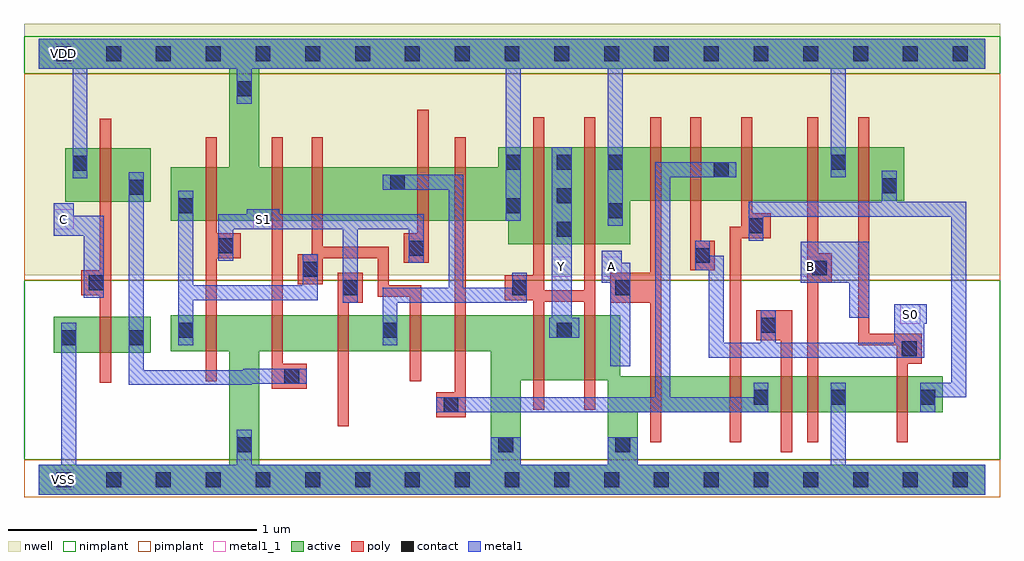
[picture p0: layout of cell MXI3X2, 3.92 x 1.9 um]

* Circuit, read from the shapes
.subckt MXI3X2 A B C S0 S1 VDD VSS Y
M1 n1 C VSS VSS nfet w=0.145u l=0.045u
M2 VSS S1 n2 VSS nfet w=0.145u l=0.045u
M3 n3 n1 VSS VSS nfet w=0.145u l=0.045u
M4 n4 S1 n3 VSS nfet w=0.145u l=0.045u
M5 n5 n2 n4 VSS nfet w=0.145u l=0.045u
M6 VSS n6 n5 VSS nfet w=0.145u l=0.045u
M7 Y n4 VSS VSS nfet w=0.26u l=0.045u m=2
M8 n7 A VSS VSS nfet w=0.145u l=0.045u
M9 n6 n8 n7 VSS nfet w=0.145u l=0.045u
M10 n9 S0 n6 VSS nfet w=0.145u l=0.045u
M11 VSS B n9 VSS nfet w=0.145u l=0.045u
M12 n8 S0 VSS VSS nfet w=0.145u l=0.045u
M13 n1 C VDD VDD pfet w=0.215u l=0.045u
M14 VDD S1 n2 VDD pfet w=0.215u l=0.045u
M15 n10 n1 VDD VDD pfet w=0.215u l=0.045u
M16 n4 n2 n10 VDD pfet w=0.215u l=0.045u
M17 n11 S1 n4 VDD pfet w=0.215u l=0.045u
M18 VDD n6 n11 VDD pfet w=0.215u l=0.045u
M19 Y n4 VDD VDD pfet w=0.39u l=0.045u m=2
M20 n12 A VDD VDD pfet w=0.215u l=0.045u
M21 n6 S0 n12 VDD pfet w=0.215u l=0.045u
M22 n13 n8 n6 VDD pfet w=0.215u l=0.045u
M23 VDD B n13 VDD pfet w=0.215u l=0.045u
M24 n8 S0 VDD VDD pfet w=0.215u l=0.045u
.ends

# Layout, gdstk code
import gdstk
lib = gdstk.Library(unit=1e-6, precision=5e-10)
def R(c, l, rs):  # rectangles x0, y0, x1, y1
    for r in rs: c.add(gdstk.rectangle(r[:2], r[2:], *l))
def A(c, l, x, y, w, h, nx, ny, dx, dy):  # array of equal rectangles
    R(c, l, [(x+i*dx, y+j*dy, x+i*dx+w, y+j*dy+h) for i in range(nx) for j in range(ny)])
def P(c, l, *ps):  # polygons
    for p in ps: c.add(gdstk.Polygon(p, *l))
active = (1, 0)
nwell = (2, 0)
poly = (3, 0)
nimplant = (4, 0)
pimplant = (5, 0)
contact = (6, 0)
metal1 = (7, 0)
metal1_1 = (7, 1)

mxi3x2 = lib.new_cell('MXI3X2')
R(mxi3x2, active, [(0.06,0.51,0.45,0.655), (0.105,1.115,0.45,1.33)])
P(mxi3x2, active, [(0,1.77),(3.8,1.77),(3.8,1.65),(0.885,1.65),(0.885,1.255),(1.845,1.255),(1.845,1.335),(3.475,1.335),(3.475,1.12),(2.375,1.12),(2.375,0.945),(1.885,0.945),(1.885,1.04),(0.53,1.04),(0.53,1.255),(0.765,1.255),(0.765,1.65),(0,1.65)],
  [(0.53,0.66),(2.335,0.66),(2.335,0.415),(3.63,0.415),(3.63,0.27),(2.405,0.27),(2.405,0.06),(3.8,0.06),(3.8,-0.06),(0,-0.06),(0,0.06),(0.765,0.06),(0.765,0.515),(0.885,0.515),(0.885,0.06),(1.815,0.06),(1.815,0.4),(1.935,0.4),(1.935,0.06),(2.285,0.06),(2.285,0.4),(1.815,0.4),(1.815,0.515),(0.53,0.515)])
R(mxi3x2, nwell, [(-0.06,0.82,3.86,1.83)])
P(mxi3x2, poly, [(0.245,1.45),(0.29,1.45),(0.29,0.39),(0.245,0.39),(0.245,0.74),(0.17,0.74),(0.17,0.84),(0.245,0.84)],
  [(0.67,1.375),(0.715,1.375),(0.715,0.99),(0.81,0.99),(0.81,0.89),(0.715,0.89),(0.715,0.395),(0.67,0.395)],
  [(1.985,1.455),(2.03,1.455),(2.03,0.76),(2.19,0.76),(2.19,1.455),(2.235,1.455),(2.235,0.28),(2.19,0.28),(2.19,0.715),(2.03,0.715),(2.03,0.28),(1.985,0.28),(1.985,0.72),(1.87,0.72),(1.87,0.82),(1.985,0.82)],
  [(0.935,1.375),(0.98,1.375),(0.98,0.465),(1.075,0.465),(1.075,0.365),(0.935,0.365)],
  [(1.095,1.375),(1.14,1.375),(1.14,0.935),(1.405,0.935),(1.405,0.78),(1.535,0.78),(1.535,0.395),(1.49,0.395),(1.49,0.735),(1.36,0.735),(1.36,0.89),(1.14,0.89),(1.14,0.785),(1.04,0.785),(1.04,0.905),(1.095,0.905)],
  [(1.52,1.485),(1.565,1.485),(1.565,0.87),(1.465,0.87),(1.465,0.99),(1.52,0.99)],
  [(1.67,1.375),(1.715,1.375),(1.715,0.25),(1.595,0.25),(1.595,0.35),(1.67,0.35)],
  [(1.2,0.83),(1.3,0.83),(1.3,0.71),(1.245,0.71),(1.245,0.215),(1.2,0.215)],
  [(2.455,1.455),(2.5,1.455),(2.5,0.15),(2.455,0.15),(2.455,0.71),(2.295,0.71),(2.295,0.83),(2.455,0.83)],
  [(2.615,1.455),(2.66,1.455),(2.66,0.96),(2.715,0.96),(2.715,0.84),(2.615,0.84)],
  [(2.82,1.455),(2.865,1.455),(2.865,1.07),(2.94,1.07),(2.94,0.97),(2.82,0.97),(2.82,0.15),(2.775,0.15),(2.775,1.015),(2.82,1.015)],
  [(3.085,1.455),(3.13,1.455),(3.13,0.91),(3.185,0.91),(3.185,0.79),(3.13,0.79),(3.13,0.15),(3.085,0.15)],
  [(3.29,1.455),(3.335,1.455),(3.335,0.585),(3.545,0.585),(3.545,0.465),(3.49,0.465),(3.49,0.15),(3.445,0.15),(3.445,0.54),(3.29,0.54)],
  [(2.88,0.68),(3.025,0.68),(3.025,0.11),(2.98,0.11),(2.98,0.56),(2.88,0.56)])
R(mxi3x2, nimplant, [(-0.06,0.08,3.86,0.8), (-0.06,1.63,3.86,1.78)])
R(mxi3x2, pimplant, [(-0.06,-0.07,3.86,0.08), (-0.06,0.8,3.86,1.63)])
A(mxi3x2, contact, 0.07, -0.03, 0.06, 0.06, 19, 2, 0.2, 1.71)
A(mxi3x2, contact, 1.875, 1.245, 0.06, 0.06, 3, 1, 0.205, 0)
R(mxi3x2, contact, [(0.795,0.11,0.855,0.17), (1.845,0.11,1.905,0.17), (2.315,0.11,2.375,0.17), (1.625,0.27,1.685,0.33), (2.87,0.3,2.93,0.36), (3.18,0.3,3.24,0.36), (3.54,0.3,3.6,0.36), (0.985,0.385,1.045,0.445), (3.465,0.495,3.525,0.555), (0.09,0.54,0.15,0.6), (0.36,0.54,0.42,0.6), (0.56,0.57,0.62,0.63), (1.38,0.57,1.44,0.63), (2.08,0.57,2.14,0.63), (2.9,0.59,2.96,0.65), (1.22,0.74,1.28,0.8), (1.9,0.74,1.96,0.8), (2.315,0.74,2.375,0.8), (0.2,0.76,0.26,0.82), (1.06,0.815,1.12,0.875), (3.105,0.82,3.165,0.88), (2.635,0.87,2.695,0.93), (1.485,0.9,1.545,0.96), (0.72,0.91,0.78,0.97), (2.08,0.975,2.14,1.035), (2.85,0.99,2.91,1.05), (2.285,1.05,2.345,1.11), (0.56,1.07,0.62,1.13), (1.875,1.07,1.935,1.13), (2.08,1.11,2.14,1.17), (0.36,1.145,0.42,1.205), (3.385,1.15,3.445,1.21), (1.41,1.165,1.47,1.225), (2.71,1.215,2.77,1.275), (0.135,1.24,0.195,1.3), (3.18,1.245,3.24,1.305), (0.795,1.54,0.855,1.6)])
P(mxi3x2, metal1, [(0,1.77),(3.8,1.77),(3.8,1.65),(3.24,1.65),(3.24,1.215),(3.18,1.215),(3.18,1.65),(2.345,1.65),(2.345,1.02),(2.285,1.02),(2.285,1.65),(1.935,1.65),(1.935,1.04),(1.875,1.04),(1.875,1.65),(0.855,1.65),(0.855,1.51),(0.795,1.51),(0.795,1.65),(0.195,1.65),(0.195,1.21),(0.135,1.21),(0.135,1.65),(0,1.65)],
  [(0.56,1.16),(0.62,1.16),(0.62,0.78),(1.06,0.78),(1.06,0.905),(1.12,0.905),(1.12,0.72),(0.62,0.72),(0.62,0.54),(0.56,0.54)],
  [(1.38,1.225),(1.705,1.225),(1.705,0.77),(1.9,0.77),(1.9,0.83),(1.96,0.83),(1.96,0.71),(1.44,0.71),(1.44,0.54),(1.38,0.54),(1.38,0.77),(1.645,0.77),(1.645,1.165),(1.38,1.165)],
  [(0.36,1.235),(0.42,1.235),(0.42,0.44),(0.82,0.44),(0.82,0.445),(1.075,0.445),(1.075,0.385),(0.855,0.385),(0.855,0.38),(0.36,0.38)],
  [(0.06,1.11),(0.14,1.11),(0.14,1.06),(0.26,1.06),(0.26,0.73),(0.18,0.73),(0.18,0.98),(0.06,0.98)],
  [(0.09,0.63),(0.15,0.63),(0.15,0.06),(0.795,0.06),(0.795,0.2),(0.855,0.2),(0.855,0.06),(1.815,0.06),(1.815,0.17),(1.935,0.17),(1.935,0.06),(2.285,0.06),(2.285,0.17),(2.405,0.17),(2.405,0.06),(3.18,0.06),(3.18,0.39),(3.24,0.39),(3.24,0.06),(3.8,0.06),(3.8,-0.06),(0,-0.06),(0,0.06),(0.09,0.06)],
  [(0.835,1.085),(0.965,1.085),(0.965,1.065),(1.545,1.065),(1.545,0.87),(1.485,0.87),(1.485,1.005),(1.28,1.005),(1.28,0.71),(1.22,0.71),(1.22,1.005),(0.78,1.005),(0.78,0.88),(0.72,0.88),(0.72,1.065),(0.835,1.065)],
  [(2.06,1.335),(2.14,1.335),(2.14,0.65),(2.17,0.65),(2.17,0.57),(2.05,0.57),(2.05,0.65),(2.06,0.65)],
  [(2.475,1.275),(2.8,1.275),(2.8,1.215),(2.535,1.215),(2.535,0.33),(2.87,0.33),(2.87,0.39),(2.93,0.39),(2.93,0.27),(1.595,0.27),(1.595,0.33),(2.475,0.33)],
  [(3.385,1.24),(3.445,1.24),(3.445,1.115),(3.725,1.115),(3.725,0.33),(3.6,0.33),(3.6,0.27),(3.54,0.27),(3.54,0.39),(3.665,0.39),(3.665,1.055),(2.91,1.055),(2.91,0.96),(2.85,0.96),(2.85,1.115),(3.385,1.115)],
  [(2.26,0.92),(2.34,0.92),(2.34,0.87),(2.375,0.87),(2.375,0.455),(2.295,0.455),(2.295,0.79),(2.26,0.79)],
  [(2.635,0.96),(2.695,0.96),(2.695,0.9),(2.75,0.9),(2.75,0.55),(2.9,0.55),(2.9,0.68),(2.96,0.68),(2.96,0.55),(3.435,0.55),(3.435,0.705),(3.565,0.705),(3.565,0.625),(3.555,0.625),(3.555,0.49),(2.69,0.49),(2.69,0.84),(2.635,0.84)],
  [(3.06,0.955),(3.335,0.955),(3.335,0.65),(3.255,0.65),(3.255,0.79),(3.06,0.79)])
R(mxi3x2, metal1_1, [(0.06,-0.04,0.14,0.04), (3.46,0.625,3.54,0.705), (2.06,0.815,2.14,0.895), (2.26,0.815,2.34,0.895), (3.06,0.815,3.14,0.895), (0.06,1.005,0.14,1.085), (0.86,1.005,0.94,1.085), (0.06,1.67,0.14,1.75)])
mxi3x2.add(gdstk.Label('Y', (2.1,0.855), layer=7, texttype=1))
mxi3x2.add(gdstk.Label('S0', (3.5,0.665), layer=7, texttype=1))
mxi3x2.add(gdstk.Label('B', (3.1,0.855), layer=7, texttype=1))
mxi3x2.add(gdstk.Label('A', (2.3,0.855), layer=7, texttype=1))
mxi3x2.add(gdstk.Label('S1', (0.9,1.045), layer=7, texttype=1))
mxi3x2.add(gdstk.Label('C', (0.1,1.045), layer=7, texttype=1))
mxi3x2.add(gdstk.Label('VDD', (0.1,1.71), layer=7, texttype=1))
mxi3x2.add(gdstk.Label('VSS', (0.1,0), layer=7, texttype=1))
mxi3x2.add(gdstk.Label('MXI3X2', (0,0), layer=63, texttype=0))

lib.write_gds('MXI3X2.gds')
